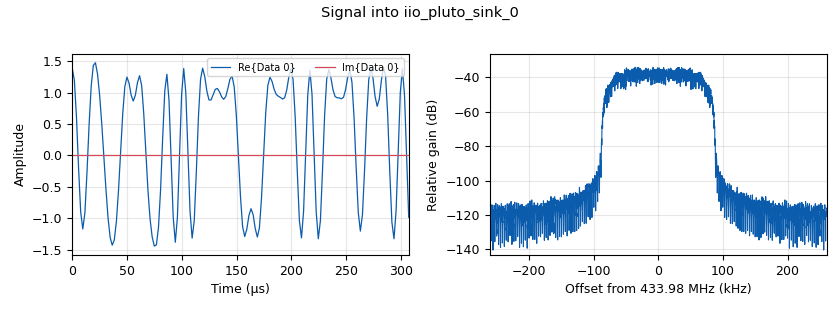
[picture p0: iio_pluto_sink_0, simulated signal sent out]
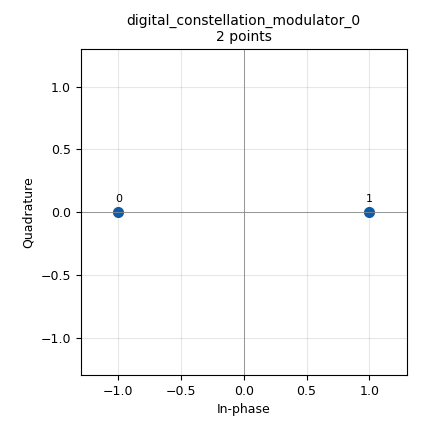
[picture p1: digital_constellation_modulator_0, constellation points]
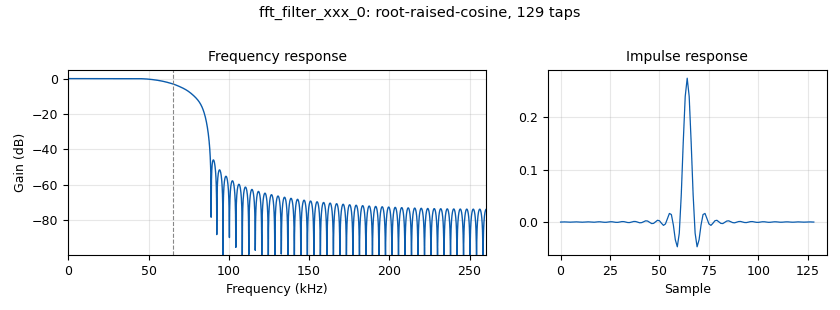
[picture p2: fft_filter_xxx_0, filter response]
options:
  parameters:
    author: mushab404
    description: 'PHY2 Stage 07: BPSK Frame Synchronization with SDR Hardware'
    generate_options: qt_gui
    id: bpsk_preamble_access_code_hardware
    output_language: python
    title: 'PHY2 Test 07: BPSK Frame Sync Hardware'
  states: {}

blocks:
- name: ADDR
  id: variable_qtgui_entry
  parameters:
    gui_hint: 0,0,1,1
    label: Pluto URI
    type: string
    value: '"ip:192.168.2.1"'
  states: {}
- name: SDR_CF
  id: variable_qtgui_range
  parameters:
    gui_hint: 0,1,1,1
    label: Center Frequency (Hz)
    start: 70e6
    step: 1e5
    stop: 6e9
    value: 433.98e6
  states: {}
- name: TX_GAIN
  id: variable_qtgui_range
  parameters:
    gui_hint: 1,0,1,1
    label: TX Gain/Atten
    start: '0'
    step: '1'
    stop: '89'
    value: '20'
  states: {}
- name: RX_GAIN
  id: variable_qtgui_range
  parameters:
    gui_hint: 1,1,1,1
    label: RX Gain (dB)
    start: '0'
    step: '1'
    stop: '73'
    value: '50'
  states: {}
- name: samp_rate
  id: variable
  parameters:
    value: '520833'
  states: {}
- name: sps
  id: variable
  parameters:
    value: '4'
  states: {}
- name: alpha
  id: variable
  parameters:
    value: '0.35'
  states: {}
- name: rcc_taps
  id: variable_rrc_filter_taps
  parameters:
    alpha: alpha
    gain: '1.0'
    ntaps: 32*sps
    samp_rate: samp_rate
    sym_rate: samp_rate/sps
  states: {}
- name: BPSK_CONST
  id: variable_constellation_rect
  parameters:
    const_points: '[-1+0j, 1+0j]'
    imag_sect: '2'
    real_sect: '2'
    rot_sym: '2'
    sym_map: '[0, 1]'
    w_imag_sect: '1'
    w_real_sect: '1'
  states: {}
- name: access_code
  id: variable
  parameters:
    value: digital.packet_utils.default_access_code
  states: {}
- name: analog_random_source_x_0
  id: analog_random_source_x
  parameters:
    max: '256'
    min: '0'
    num_samps: '1000'
    repeat: 'True'
    type: byte
  states: {}
- name: digital_constellation_modulator_0
  id: digital_constellation_modulator
  parameters:
    constellation: BPSK_CONST
    differential: 'False'
    excess_bw: alpha
    samples_per_symbol: sps
  states: {}
- name: iio_pluto_sink_0
  id: iio_pluto_sink
  parameters:
    attenuation1: TX_GAIN
    bandwidth: '20000000'
    buffer_size: '32768'
    cyclic: 'False'
    filter_source: '''Auto'''
    frequency: int(SDR_CF)
    samplerate: int(samp_rate)
    type: fc32
    uri: ADDR
  states: {}
- name: iio_pluto_source_0
  id: iio_pluto_source
  parameters:
    bandwidth: '20000000'
    bbdc: 'True'
    buffer_size: '32768'
    filter_source: '''Auto'''
    frequency: int(SDR_CF)
    gain1: '''manual'''
    manual_gain1: RX_GAIN
    quadrature: 'True'
    rfdc: 'True'
    samplerate: int(samp_rate)
    type: fc32
    uri: ADDR
  states: {}
- name: analog_agc_xx_0
  id: analog_agc_xx
  parameters:
    gain: '1.0'
    max_gain: '65536'
    rate: '1e-2'
    reference: '1.0'
    type: complex
  states: {}
- name: digital_fll_band_edge_cc_0
  id: digital_fll_band_edge_cc
  parameters:
    filter_size: 2*sps+1
    rolloff: alpha
    samps_per_sym: sps
    type: cc
    w: '0.0314'
  states: {}
- name: fft_filter_xxx_0
  id: fft_filter_xxx
  parameters:
    decim: '1'
    taps: rcc_taps
    type: ccc
  states: {}
- name: digital_symbol_sync_xx_0
  id: digital_symbol_sync_xx
  parameters:
    damping: '1.0'
    loop_bw: '0.045'
    max_dev: '1.5'
    osps: '1'
    resamp_type: digital.IR_MMSE_8TAP
    sps: sps
    ted_gain: '1.0'
    ted_type: digital.TED_MUELLER_AND_MULLER
    type: cc
  states: {}
- name: digital_costas_loop_cc_0
  id: digital_costas_loop_cc
  parameters:
    order: '2'
    w: '0.0628'
  states: {}
- name: qtgui_const_sink_x_0
  id: qtgui_const_sink_x
  parameters:
    grid: 'True'
    gui_hint: 2,0,1,1
    label1: Costas Output
    size: '1024'
    type: complex
  states: {}
- name: digital_constellation_decoder_cb_0
  id: digital_constellation_decoder_cb
  parameters:
    constellation: BPSK_CONST
  states: {}
- name: digital_correlate_access_code_tag_xx_0
  id: digital_correlate_access_code_tag_xx
  parameters:
    access_code: access_code
    tagname: '"payload_start"'
    threshold: '2'
    type: byte
  states: {}
- name: qtgui_time_sink_x_0
  id: qtgui_time_sink_x
  parameters:
    grid: 'True'
    gui_hint: 2,1,1,1
    label1: Demodulated Bits
    size: '1024'
    srate: samp_rate
    tr_mode: qtgui.TRIG_MODE_TAG
    tr_tag: '"payload_start"'
    type: float
    ymax: '1.5'
    ymin: '-0.5'
  states: {}
- name: blocks_char_to_float_0
  id: blocks_char_to_float
  parameters:
    scale: '1'
  states: {}

connections:
- [analog_random_source_x_0, '0', digital_constellation_modulator_0, '0']
- [digital_constellation_modulator_0, '0', iio_pluto_sink_0, '0']
- [iio_pluto_source_0, '0', analog_agc_xx_0, '0']
- [analog_agc_xx_0, '0', digital_fll_band_edge_cc_0, '0']
- [digital_fll_band_edge_cc_0, '0', fft_filter_xxx_0, '0']
- [fft_filter_xxx_0, '0', digital_symbol_sync_xx_0, '0']
- [digital_symbol_sync_xx_0, '0', digital_costas_loop_cc_0, '0']
- [digital_costas_loop_cc_0, '0', qtgui_const_sink_x_0, '0']
- [digital_costas_loop_cc_0, '0', digital_constellation_decoder_cb_0, '0']
- [digital_constellation_decoder_cb_0, '0', digital_correlate_access_code_tag_xx_0, '0']
- [digital_correlate_access_code_tag_xx_0, '0', blocks_char_to_float_0, '0']
- [blocks_char_to_float_0, '0', qtgui_time_sink_x_0, '0']

metadata:
  file_format: 1
  grc_version: 3.10.12.0
